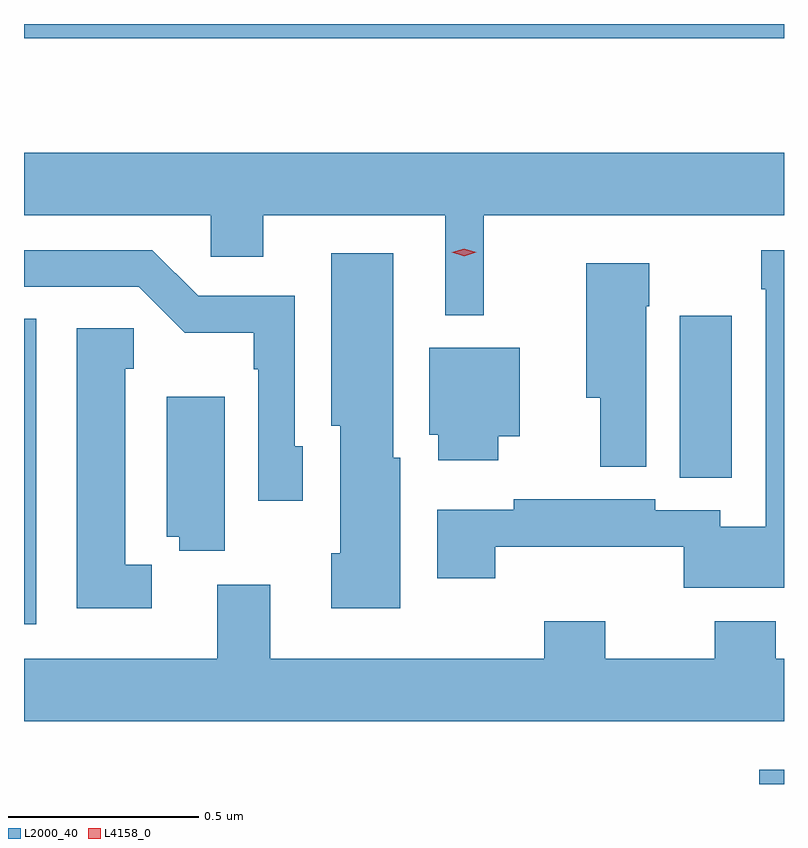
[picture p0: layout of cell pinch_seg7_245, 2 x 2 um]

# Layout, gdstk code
import gdstk
lib = gdstk.Library(unit=1e-6, precision=1e-09)
def R(c, l, rs):  # rectangles x0, y0, x1, y1
    for r in rs: c.add(gdstk.rectangle(r[:2], r[2:], *l))
def P(c, l, *ps):  # polygons
    for p in ps: c.add(gdstk.Polygon(p, *l))
L2000_40 = (2000, 40)
L4158_0 = (4158, 0)

pinch_seg7_245 = lib.new_cell('pinch_seg7_245')
R(pinch_seg7_245, L2000_40, [(846.433,1077.707,846.498,1077.745), (844.498,1078.128,844.53,1078.931), (846.224,1078.513,846.361,1078.939), (844.498,1079.67,846.498,1079.707)])
P(pinch_seg7_245, L2000_40, [(845.708,1079.204),(846.498,1079.204),(846.498,1079.368),(844.498,1079.368),(844.498,1079.204),(844.989,1079.204),(844.989,1079.094),(845.128,1079.094),(845.128,1079.204),(845.606,1079.204),(845.606,1078.941),(845.708,1078.941)],
  [(846.498,1079.112),(846.438,1079.112),(846.438,1079.009),(846.45,1079.009),(846.45,1078.384),(846.33,1078.384),(846.33,1078.428),(846.159,1078.428),(846.159,1078.456),(845.787,1078.456),(845.787,1078.429),(845.585,1078.429),(845.585,1078.248),(845.738,1078.248),(845.738,1078.331),(846.234,1078.331),(846.234,1078.223),(846.498,1078.223)],
  [(845.232,1078.596),(845.211,1078.596),(845.211,1078.992),(844.956,1078.992),(844.836,1079.112),(844.498,1079.112),(844.498,1079.016),(844.8,1079.016),(844.921,1078.895),(845.103,1078.895),(845.103,1078.799),(845.115,1078.799),(845.115,1078.452),(845.232,1078.452)],
  [(845.488,1078.566),(845.47,1078.566),(845.47,1079.104),(845.306,1079.104),(845.306,1078.65),(845.33,1078.65),(845.33,1078.314),(845.306,1078.314),(845.306,1078.17),(845.488,1078.17)],
  [(846.136,1078.964),(846.144,1078.964),(846.144,1079.077),(845.978,1079.077),(845.978,1078.724),(846.014,1078.724),(846.014,1078.542),(846.136,1078.542)],
  [(844.834,1078.284),(844.765,1078.284),(844.765,1078.8),(844.787,1078.8),(844.787,1078.906),(844.637,1078.906),(844.637,1078.169),(844.834,1078.169)],
  [(845.746,1078.622),(845.803,1078.622),(845.803,1078.855),(845.564,1078.855),(845.564,1078.626),(845.588,1078.626),(845.588,1078.559),(845.746,1078.559)],
  [(845.026,1078.726),(844.874,1078.726),(844.874,1078.358),(844.906,1078.358),(844.906,1078.321),(845.026,1078.321)],
  [(845.867,1078.135),(845.867,1078.036),(845.146,1078.036),(845.146,1078.231),(845.006,1078.231),(845.006,1078.036),(844.498,1078.036),(844.498,1077.872),(846.498,1077.872),(846.498,1078.036),(846.476,1078.036),(846.476,1078.135),(846.316,1078.135),(846.316,1078.036),(846.027,1078.036),(846.027,1078.135)])
P(pinch_seg7_245, L4158_0, [(845.656,1079.096),(845.623,1079.106),(845.623,1079.106),(845.623,1079.106),(845.656,1079.116),(845.688,1079.106),(845.688,1079.106),(845.688,1079.106)])

lib.write_gds('pinch_seg7_245.gds')
